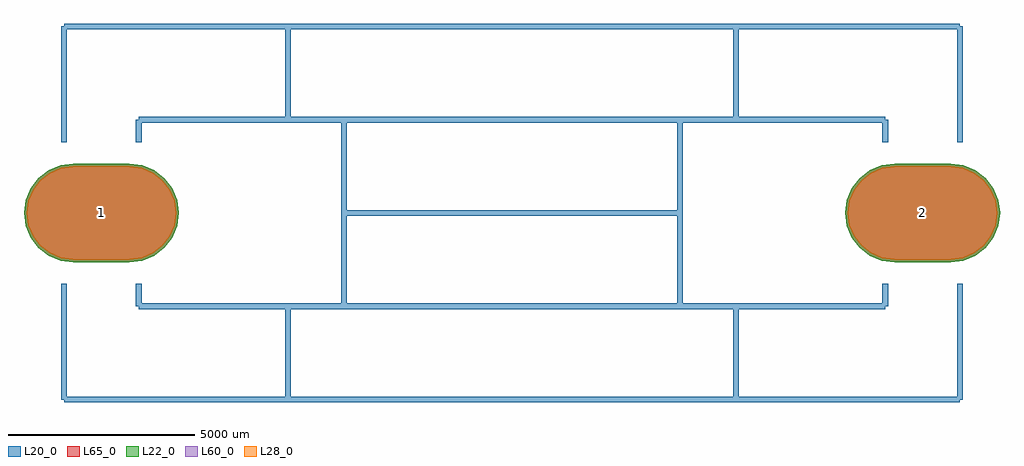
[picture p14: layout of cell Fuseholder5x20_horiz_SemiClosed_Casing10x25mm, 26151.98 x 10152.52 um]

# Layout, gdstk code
import gdstk
lib = gdstk.Library(unit=1e-6, precision=1e-09)
def P(c, l, *ps):  # polygons
    for p in ps: c.add(gdstk.Polygon(p, *l))
L20_0 = (20, 0)
L22_0 = (22, 0)
L28_0 = (28, 0)
L60_0 = (60, 0)
L65_0 = (65, 0)

fuseholder5x20_horiz_sem = lib.new_cell('Fuseholder5x20_horiz_SemiClosed_Casing10x25mm')
P(fuseholder5x20_horiz_sem, L22_0, [(-11751.31,-1324.68),(-10250.17,-1324.68),(-9907.318,-1279.543),(-9587.83,-1147.207),(-9313.48,-936.69),(-9102.963,-662.34),(-8970.627,-342.852),(-8925.49,0),(-8970.627,342.852),(-9102.963,662.34),(-9313.48,936.69),(-9587.83,1147.207),(-9907.318,1279.543),(-10250.17,1324.68),(-11751.31,1324.68),(-12094.162,1279.543),(-12413.65,1147.207),(-12688,936.69),(-12898.517,662.34),(-13030.853,342.852),(-13075.99,0),(-13030.853,-342.852),(-12898.517,-662.34),(-12688,-936.69),(-12413.65,-1147.207),(-12094.162,-1279.543)],
  [(10250.17,-1324.68),(11751.31,-1324.68),(12094.162,-1279.543),(12413.65,-1147.207),(12688,-936.69),(12898.517,-662.34),(13030.853,-342.852),(13075.99,0),(13030.853,342.852),(12898.517,662.34),(12688,936.69),(12413.65,1147.207),(12094.162,1279.543),(11751.31,1324.68),(10250.17,1324.68),(9907.318,1279.543),(9587.83,1147.207),(9313.48,936.69),(9102.963,662.34),(8970.627,342.852),(8925.49,0),(8970.627,-342.852),(9102.963,-662.34),(9313.48,-936.69),(9587.83,-1147.207),(9907.318,-1279.543)])
P(fuseholder5x20_horiz_sem, L28_0, [(-11751.31,-1249.68),(-10250.17,-1249.68),(-9926.729,-1207.098),(-9625.33,-1082.255),(-9366.513,-883.657),(-9167.915,-624.84),(-9043.072,-323.441),(-9000.49,0),(-9043.072,323.441),(-9167.915,624.84),(-9366.513,883.657),(-9625.33,1082.255),(-9926.729,1207.098),(-10250.17,1249.68),(-11751.31,1249.68),(-12074.751,1207.098),(-12376.15,1082.255),(-12634.967,883.657),(-12833.565,624.84),(-12958.408,323.441),(-13000.99,0),(-12958.408,-323.441),(-12833.565,-624.84),(-12634.967,-883.657),(-12376.15,-1082.255),(-12074.751,-1207.098)],
  [(10250.17,-1249.68),(11751.31,-1249.68),(12074.751,-1207.098),(12376.15,-1082.255),(12634.967,-883.657),(12833.565,-624.84),(12958.408,-323.441),(13000.99,0),(12958.408,323.441),(12833.565,624.84),(12634.967,883.657),(12376.15,1082.255),(12074.751,1207.098),(11751.31,1249.68),(10250.17,1249.68),(9926.729,1207.098),(9625.33,1082.255),(9366.513,883.657),(9167.915,624.84),(9043.072,323.441),(9000.49,0),(9043.072,-323.441),(9167.915,-624.84),(9366.513,-883.657),(9625.33,-1082.255),(9926.729,-1207.098)])
P(fuseholder5x20_horiz_sem, L60_0, [(-11751.31,-1249.68),(-10250.17,-1249.68),(-9926.729,-1207.098),(-9625.33,-1082.255),(-9366.513,-883.657),(-9167.915,-624.84),(-9043.072,-323.441),(-9000.49,0),(-9043.072,323.441),(-9167.915,624.84),(-9366.513,883.657),(-9625.33,1082.255),(-9926.729,1207.098),(-10250.17,1249.68),(-11751.31,1249.68),(-12074.751,1207.098),(-12376.15,1082.255),(-12634.967,883.657),(-12833.565,624.84),(-12958.408,323.441),(-13000.99,0),(-12958.408,-323.441),(-12833.565,-624.84),(-12634.967,-883.657),(-12376.15,-1082.255),(-12074.751,-1207.098)],
  [(10250.17,-1249.68),(11751.31,-1249.68),(12074.751,-1207.098),(12376.15,-1082.255),(12634.967,-883.657),(12833.565,-624.84),(12958.408,-323.441),(13000.99,0),(12958.408,323.441),(12833.565,624.84),(12634.967,883.657),(12376.15,1082.255),(12074.751,1207.098),(11751.31,1249.68),(10250.17,1249.68),(9926.729,1207.098),(9625.33,1082.255),(9366.513,883.657),(9167.915,624.84),(9043.072,323.441),(9000.49,0),(9043.072,-323.441),(9167.915,-624.84),(9366.513,-883.657),(9625.33,-1082.255),(9926.729,-1207.098)])
P(fuseholder5x20_horiz_sem, L65_0, [(-11751.31,-1324.68),(-10250.17,-1324.68),(-9907.318,-1279.543),(-9587.83,-1147.207),(-9313.48,-936.69),(-9102.963,-662.34),(-8970.627,-342.852),(-8925.49,0),(-8970.627,342.852),(-9102.963,662.34),(-9313.48,936.69),(-9587.83,1147.207),(-9907.318,1279.543),(-10250.17,1324.68),(-11751.31,1324.68),(-12094.162,1279.543),(-12413.65,1147.207),(-12688,936.69),(-12898.517,662.34),(-13030.853,342.852),(-13075.99,0),(-13030.853,-342.852),(-12898.517,-662.34),(-12688,-936.69),(-12413.65,-1147.207),(-12094.162,-1279.543)],
  [(10250.17,-1324.68),(11751.31,-1324.68),(12094.162,-1279.543),(12413.65,-1147.207),(12688,-936.69),(12898.517,-662.34),(13030.853,-342.852),(13075.99,0),(13030.853,342.852),(12898.517,662.34),(12688,936.69),(12413.65,1147.207),(12094.162,1279.543),(11751.31,1324.68),(10250.17,1324.68),(9907.318,1279.543),(9587.83,1147.207),(9313.48,936.69),(9102.963,662.34),(8970.627,342.852),(8925.49,0),(8970.627,-342.852),(9102.963,-662.34),(9313.48,-936.69),(9587.83,-1147.207),(9907.318,-1279.543)])
fuseholder5x20_horiz_sem.add(gdstk.FlexPath([(-11998.96,5001.26),(-11998.96,1899.92)], 149.998, ends="flush", simple_path=True, layer=20, datatype=0))  # L20_0
fuseholder5x20_horiz_sem.add(gdstk.FlexPath([(11998.96,5001.26),(-11998.96,5001.26)], 149.998, ends="flush", simple_path=True, layer=20, datatype=0))  # L20_0
fuseholder5x20_horiz_sem.add(gdstk.FlexPath([(11998.96,-5001.26),(11998.96,-1899.92)], 149.998, ends="flush", simple_path=True, layer=20, datatype=0))  # L20_0
fuseholder5x20_horiz_sem.add(gdstk.FlexPath([(-11998.96,-5001.26),(11998.96,-5001.26)], 149.998, ends="flush", simple_path=True, layer=20, datatype=0))  # L20_0
fuseholder5x20_horiz_sem.add(gdstk.FlexPath([(-11998.96,-1899.92),(-11998.96,-5001.26)], 149.998, ends="flush", simple_path=True, layer=20, datatype=0))  # L20_0
fuseholder5x20_horiz_sem.add(gdstk.FlexPath([(11998.96,1899.92),(11998.96,5001.26)], 149.998, ends="flush", simple_path=True, layer=20, datatype=0))  # L20_0
fuseholder5x20_horiz_sem.add(gdstk.FlexPath([(-9999.98,2499.36),(-9999.98,1899.92)], 149.998, ends="flush", simple_path=True, layer=20, datatype=0))  # L20_0
fuseholder5x20_horiz_sem.add(gdstk.FlexPath([(9999.98,2499.36),(-9999.98,2499.36)], 149.998, ends="flush", simple_path=True, layer=20, datatype=0))  # L20_0
fuseholder5x20_horiz_sem.add(gdstk.FlexPath([(9999.98,-2499.36),(9999.98,-1899.92)], 149.998, ends="flush", simple_path=True, layer=20, datatype=0))  # L20_0
fuseholder5x20_horiz_sem.add(gdstk.FlexPath([(-9999.98,-2499.36),(9999.98,-2499.36)], 149.998, ends="flush", simple_path=True, layer=20, datatype=0))  # L20_0
fuseholder5x20_horiz_sem.add(gdstk.FlexPath([(-9999.98,-1899.92),(-9999.98,-2499.36)], 149.998, ends="flush", simple_path=True, layer=20, datatype=0))  # L20_0
fuseholder5x20_horiz_sem.add(gdstk.FlexPath([(9999.98,1899.92),(9999.98,2499.36)], 149.998, ends="flush", simple_path=True, layer=20, datatype=0))  # L20_0
fuseholder5x20_horiz_sem.add(gdstk.FlexPath([(4500.88,2499.36),(4500.88,-2499.36)], 149.998, ends="flush", simple_path=True, layer=20, datatype=0))  # L20_0
fuseholder5x20_horiz_sem.add(gdstk.FlexPath([(-4500.88,2499.36),(-4500.88,-2499.36)], 149.998, ends="flush", simple_path=True, layer=20, datatype=0))  # L20_0
fuseholder5x20_horiz_sem.add(gdstk.FlexPath([(-4500.88,0),(4500.88,0)], 149.998, ends="flush", simple_path=True, layer=20, datatype=0))  # L20_0
fuseholder5x20_horiz_sem.add(gdstk.FlexPath([(5999.48,5001.26),(5999.48,2499.36)], 149.998, ends="flush", simple_path=True, layer=20, datatype=0))  # L20_0
fuseholder5x20_horiz_sem.add(gdstk.FlexPath([(5999.48,-5001.26),(5999.48,-2499.36)], 149.998, ends="flush", simple_path=True, layer=20, datatype=0))  # L20_0
fuseholder5x20_horiz_sem.add(gdstk.FlexPath([(-5999.48,-5001.26),(-5999.48,-2499.36)], 149.998, ends="flush", simple_path=True, layer=20, datatype=0))  # L20_0
fuseholder5x20_horiz_sem.add(gdstk.FlexPath([(-5999.48,2499.36),(-5999.48,5001.26)], 149.998, ends="flush", simple_path=True, layer=20, datatype=0))  # L20_0
fuseholder5x20_horiz_sem.add(gdstk.Label('1', (-11000.74,0), layer=28, texttype=0))
fuseholder5x20_horiz_sem.add(gdstk.Label('2', (11000.74,0), layer=28, texttype=0))
fuseholder5x20_horiz_sem.add(gdstk.Label('type', (1270,-7620), layer=9, texttype=0))
fuseholder5x20_horiz_sem.add(gdstk.Label('devicename', (0,7620), layer=9, texttype=0))

lib.write_gds('Fuseholder5x20_horiz_SemiClosed_Casing10x25mm.gds')
